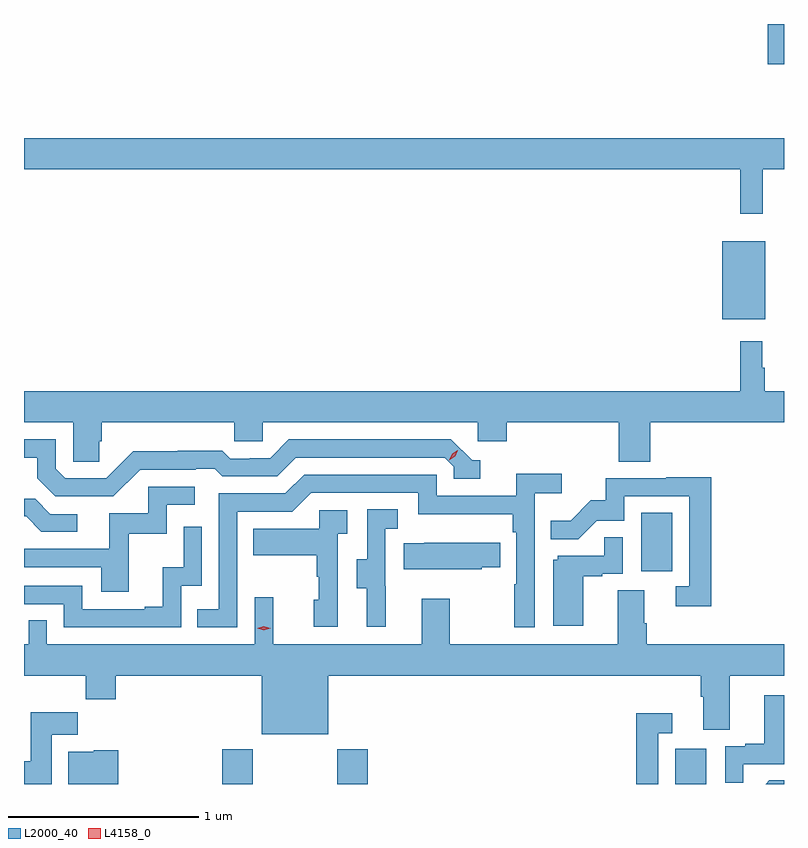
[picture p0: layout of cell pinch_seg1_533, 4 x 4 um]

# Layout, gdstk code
import gdstk
lib = gdstk.Library(unit=1e-6, precision=1e-09)
def R(c, l, rs):  # rectangles x0, y0, x1, y1
    for r in rs: c.add(gdstk.rectangle(r[:2], r[2:], *l))
def P(c, l, *ps):  # polygons
    for p in ps: c.add(gdstk.Polygon(p, *l))
L2000_40 = (2000, 40)
L4158_0 = (4158, 0)

pinch_seg1_533 = lib.new_cell('pinch_seg1_533')
R(pinch_seg1_533, L2000_40, [(1058.039,533.845,1058.199,534.028), (1058.644,533.845,1058.804,534.028), (1060.424,533.845,1060.588,534.031), (1060.244,534.966,1060.408,535.273), (1060.67,536.291,1060.897,536.701), (1060.91,537.633,1060.996,537.845)])
P(pinch_seg1_533, L2000_40, [(1060.883,537.08),(1060.996,537.08),(1060.996,537.244),(1056.996,537.244),(1056.996,537.08),(1060.765,537.08),(1060.765,536.847),(1060.883,536.847)],
  [(1057.391,535.65),(1057.406,535.65),(1057.406,535.748),(1058.103,535.748),(1058.103,535.65),(1058.253,535.65),(1058.253,535.748),(1059.384,535.748),(1059.384,535.65),(1059.536,535.65),(1059.536,535.748),(1060.127,535.748),(1060.127,535.54),(1060.292,535.54),(1060.292,535.748),(1060.996,535.748),(1060.996,535.912),(1060.894,535.912),(1060.894,536.036),(1060.882,536.036),(1060.882,536.176),(1060.765,536.176),(1060.765,535.912),(1056.996,535.912),(1056.996,535.748),(1057.254,535.748),(1057.254,535.54),(1057.391,535.54)],
  [(1057.608,535.5),(1057.901,535.5),(1057.901,535.503),(1058,535.503),(1058.039,535.464),(1058.328,535.464),(1058.427,535.563),(1059.21,535.563),(1059.258,535.515),(1059.258,535.452),(1059.397,535.452),(1059.397,535.548),(1059.354,535.548),(1059.243,535.659),(1058.39,535.659),(1058.291,535.56),(1058.184,535.56),(1058.184,535.557),(1058.081,535.557),(1058.039,535.6),(1057.806,535.6),(1057.806,535.597),(1057.57,535.597),(1057.428,535.455),(1057.212,535.455),(1057.164,535.503),(1057.164,535.659),(1056.996,535.659),(1056.996,535.563),(1057.067,535.563),(1057.067,535.453),(1057.161,535.359),(1057.467,535.359)],
  [(1058.118,535.278),(1058.409,535.278),(1058.508,535.377),(1059.072,535.377),(1059.072,535.265),(1059.568,535.265),(1059.568,535.169),(1059.588,535.169),(1059.588,534.896),(1059.576,534.896),(1059.576,534.669),(1059.684,534.669),(1059.684,535.376),(1059.826,535.376),(1059.826,535.478),(1059.587,535.478),(1059.587,535.362),(1059.168,535.362),(1059.168,535.473),(1058.471,535.473),(1058.372,535.374),(1058.022,535.374),(1058.022,534.765),(1057.909,534.765),(1057.909,534.669),(1058.118,534.669)],
  [(1060.613,535.46),(1060.375,535.46),(1060.375,535.455),(1060.057,535.455),(1060.057,535.338),(1059.98,535.338),(1059.873,535.231),(1059.769,535.231),(1059.769,535.132),(1059.913,535.132),(1060.011,535.23),(1060.155,535.23),(1060.155,535.359),(1060.497,535.359),(1060.497,534.885),(1060.425,534.885),(1060.425,534.78),(1060.613,534.78)],
  [(1057.547,535.161),(1057.746,535.161),(1057.746,535.314),(1057.894,535.314),(1057.894,535.41),(1057.65,535.41),(1057.65,535.269),(1057.445,535.269),(1057.445,535.083),(1056.996,535.083),(1056.996,534.987),(1057.403,534.987),(1057.403,534.858),(1057.547,534.858)],
  [(1057.276,535.266),(1057.134,535.266),(1057.054,535.346),(1056.996,535.346),(1056.996,535.254),(1057.007,535.254),(1057.088,535.173),(1057.276,535.173)],
  [(1058.9,534.885),(1058.898,534.885),(1058.898,535.189),(1058.962,535.189),(1058.962,535.292),(1058.802,535.292),(1058.802,535.029),(1058.747,535.029),(1058.747,534.874),(1058.801,534.874),(1058.801,534.672),(1058.9,534.672)],
  [(1058.646,535.163),(1058.698,535.163),(1058.698,535.287),(1058.55,535.287),(1058.55,535.189),(1058.203,535.189),(1058.203,535.049),(1058.538,535.049),(1058.538,534.935),(1058.548,534.935),(1058.548,534.816),(1058.522,534.816),(1058.522,534.672),(1058.646,534.672)],
  [(1057.824,534.888),(1057.932,534.888),(1057.932,535.198),(1057.836,535.198),(1057.836,534.986),(1057.727,534.986),(1057.727,534.778),(1057.631,534.778),(1057.631,534.765),(1057.302,534.765),(1057.302,534.888),(1056.996,534.888),(1056.996,534.792),(1057.206,534.792),(1057.206,534.669),(1057.824,534.669)],
  [(1059.94,534.939),(1060.04,534.939),(1060.04,534.951),(1060.146,534.951),(1060.146,535.145),(1060.051,535.145),(1060.051,535.047),(1059.804,535.047),(1059.804,535.026),(1059.782,535.026),(1059.782,534.678),(1059.94,534.678)],
  [(1059.405,534.985),(1059.503,534.985),(1059.503,535.114),(1059.103,535.114),(1059.103,535.111),(1058.995,535.111),(1058.995,534.974),(1059.405,534.974)],
  [(1058.596,534.416),(1060.559,534.416),(1060.559,534.304),(1060.571,534.304),(1060.571,534.13),(1060.711,534.13),(1060.711,534.416),(1060.996,534.416),(1060.996,534.58),(1060.274,534.58),(1060.274,534.692),(1060.261,534.692),(1060.261,534.866),(1060.121,534.866),(1060.121,534.58),(1059.237,534.58),(1059.237,534.82),(1059.089,534.82),(1059.089,534.58),(1058.309,534.58),(1058.309,534.829),(1058.211,534.829),(1058.211,534.58),(1057.116,534.58),(1057.116,534.707),(1057.02,534.707),(1057.02,534.58),(1056.996,534.58),(1056.996,534.416),(1057.321,534.416),(1057.321,534.292),(1057.478,534.292),(1057.478,534.416),(1058.246,534.416),(1058.246,534.107),(1058.596,534.107)],
  [(1060.781,533.949),(1060.996,533.949),(1060.996,534.313),(1060.892,534.313),(1060.892,534.058),(1060.793,534.058),(1060.793,534.045),(1060.686,534.045),(1060.686,533.851),(1060.781,533.851)],
  [(1057.141,534.104),(1057.28,534.104),(1057.28,534.223),(1057.031,534.223),(1057.031,533.964),(1056.996,533.964),(1056.996,533.845),(1057.141,533.845)],
  [(1060.335,534.111),(1060.408,534.111),(1060.408,534.217),(1060.219,534.217),(1060.219,533.845),(1060.335,533.845)],
  [(1057.493,534.022),(1057.362,534.022),(1057.362,534.016),(1057.229,534.016),(1057.229,533.845),(1057.493,533.845)],
  [(1060.996,533.864),(1060.919,533.864),(1060.9,533.845),(1060.996,533.845)])
P(pinch_seg1_533, L4158_0, [(1058.259,534.655),(1058.224,534.665),(1058.224,534.665),(1058.224,534.665),(1058.259,534.675),(1058.294,534.665),(1058.294,534.665),(1058.294,534.665)],
  [(1059.234,535.549),(1059.234,535.549),(1059.25,535.582),(1059.28,535.602),(1059.28,535.602),(1059.28,535.602),(1059.265,535.569),(1059.235,535.549)])

lib.write_gds('pinch_seg1_533.gds')
